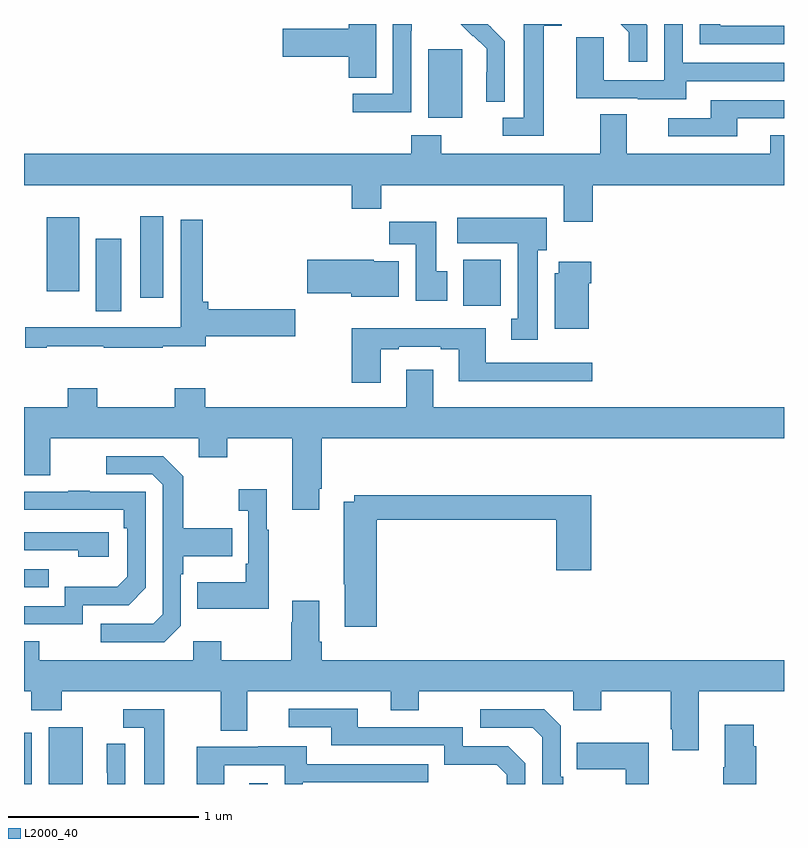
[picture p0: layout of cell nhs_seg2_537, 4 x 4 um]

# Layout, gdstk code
import gdstk
lib = gdstk.Library(unit=1e-6, precision=1e-09)
def R(c, l, rs):  # rectangles x0, y0, x1, y1
    for r in rs: c.add(gdstk.rectangle(r[:2], r[2:], *l))
def P(c, l, *ps):  # polygons
    for p in ps: c.add(gdstk.Polygon(p, *l))
L2000_40 = (2000, 40)

nhs_seg2_537 = lib.new_cell('nhs_seg2_537')
R(nhs_seg2_537, L2000_40, [(137,661.8,137.04,662.07), (137.129,661.8,137.308,662.098), (138.185,661.8,138.282,661.804), (137,662.835,137.129,662.931), (137.378,664.288,137.512,664.669), (139.313,664.316,139.51,664.558), (137.612,664.359,137.734,664.789), (137.12,664.394,137.29,664.783), (139.127,665.306,139.306,665.667)])
P(nhs_seg2_537, L2000_40, [(138.853,665.8),(138.71,665.8),(138.71,665.774),(138.363,665.774),(138.363,665.627),(138.71,665.627),(138.71,665.518),(138.853,665.518)],
  [(139.53,665.71),(139.457,665.783),(139.458,665.784),(139.442,665.8),(139.298,665.8),(139.362,665.736),(139.365,665.739),(139.436,665.669),(139.436,665.546),(139.434,665.546),(139.434,665.392),(139.53,665.392)],
  [(139.038,665.764),(139.041,665.764),(139.041,665.8),(138.942,665.8),(138.942,665.433),(138.729,665.433),(138.729,665.335),(139.038,665.335)],
  [(140.28,665.794),(140.274,665.8),(140.14,665.8),(140.183,665.757),(140.183,665.601),(140.28,665.601)],
  [(139.735,665.792),(139.831,665.792),(139.831,665.8),(139.631,665.8),(139.631,665.307),(139.521,665.307),(139.521,665.211),(139.735,665.211)],
  [(141,665.79),(140.665,665.79),(140.665,665.8),(140.556,665.8),(140.556,665.694),(141,665.694)],
  [(140.485,665.499),(141,665.499),(141,665.595),(140.466,665.595),(140.466,665.8),(140.37,665.8),(140.37,665.505),(140.052,665.505),(140.052,665.729),(139.907,665.729),(139.907,665.409),(140.231,665.409),(140.231,665.405),(140.485,665.405)],
  [(140.755,665.304),(141,665.304),(141,665.4),(140.615,665.4),(140.615,665.304),(140.391,665.304),(140.391,665.208),(140.755,665.208)],
  [(139.994,664.952),(141,664.952),(141,665.215),(140.927,665.215),(140.927,665.116),(140.173,665.116),(140.173,665.324),(140.033,665.324),(140.033,665.116),(139.197,665.116),(139.197,665.215),(139.037,665.215),(139.037,665.116),(137,665.116),(137,664.952),(138.725,664.952),(138.725,664.828),(138.881,664.828),(138.881,664.952),(139.841,664.952),(139.841,664.758),(139.994,664.758)],
  [(139.705,664.61),(139.75,664.61),(139.75,664.78),(139.281,664.78),(139.281,664.646),(139.598,664.646),(139.598,664.25),(139.565,664.25),(139.565,664.137),(139.705,664.137)],
  [(137.119,664.105),(137.419,664.105),(137.419,664.095),(137.729,664.095),(137.729,664.105),(137.956,664.105),(137.956,664.156),(138.427,664.156),(138.427,664.298),(137.969,664.298),(137.969,664.339),(137.942,664.339),(137.942,664.771),(137.826,664.771),(137.826,664.204),(137.616,664.204),(137.616,664.203),(137.282,664.203),(137.282,664.205),(137.007,664.205),(137.007,664.095),(137.119,664.095)],
  [(139.228,664.5),(139.171,664.5),(139.171,664.759),(138.922,664.759),(138.922,664.64),(139.061,664.64),(139.061,664.344),(139.228,664.344)],
  [(138.973,664.552),(138.84,664.552),(138.84,664.558),(138.492,664.558),(138.492,664.382),(138.722,664.382),(138.722,664.364),(138.973,664.364)],
  [(139.972,664.436),(139.985,664.436),(139.985,664.549),(139.814,664.549),(139.814,664.488),(139.793,664.488),(139.793,664.196),(139.972,664.196)],
  [(138.877,664.089),(138.973,664.089),(138.973,664.101),(139.193,664.101),(139.193,664.089),(139.289,664.089),(139.289,663.92),(139.99,663.92),(139.99,664.017),(139.429,664.017),(139.429,664.198),(138.725,664.198),(138.725,663.912),(138.877,663.912)],
  [(137.921,663.521),(138.069,663.521),(138.069,663.62),(138.413,663.62),(138.413,663.243),(138.553,663.243),(138.553,663.355),(138.566,663.355),(138.566,663.62),(141,663.62),(141,663.784),(139.153,663.784),(139.153,663.979),(139.013,663.979),(139.013,663.784),(137.954,663.784),(137.954,663.883),(137.794,663.883),(137.794,663.784),(137.385,663.784),(137.385,663.883),(137.23,663.883),(137.23,663.784),(137,663.784),(137,663.426),(137.137,663.426),(137.137,663.62),(137.921,663.62)],
  [(137.826,662.634),(137.826,662.903),(137.839,662.903),(137.839,662.999),(138.095,662.999),(138.095,663.147),(137.839,663.147),(137.839,663.419),(137.733,663.525),(137.433,663.525),(137.433,663.429),(137.676,663.429),(137.73,663.375),(137.73,662.694),(137.679,662.643),(137.403,662.643),(137.403,662.547),(137.739,662.547)],
  [(138.289,663.139),(138.277,663.139),(138.277,663.352),(138.129,663.352),(138.129,663.239),(138.18,663.239),(138.18,662.959),(138.168,662.959),(138.168,662.863),(137.911,662.863),(137.911,662.723),(138.289,662.723)],
  [(137.31,662.742),(137.55,662.742),(137.64,662.832),(137.64,663.339),(137.345,663.339),(137.345,663.344),(137.233,663.344),(137.233,663.339),(137,663.339),(137,663.243),(137.524,663.243),(137.524,663.146),(137.544,663.146),(137.544,662.892),(137.491,662.839),(137.214,662.839),(137.214,662.736),(137,662.736),(137,662.64),(137.31,662.64)],
  [(138.857,663.19),(139.802,663.19),(139.802,662.925),(139.985,662.925),(139.985,663.319),(138.738,663.319),(138.738,663.286),(138.682,663.286),(138.682,662.851),(138.689,662.851),(138.689,662.628),(138.857,662.628)],
  [(137.446,663.126),(137,663.126),(137,663.03),(137.285,663.03),(137.285,662.996),(137.446,662.996)],
  [(138.413,662.764),(138.413,662.651),(138.406,662.651),(138.406,662.452),(138.039,662.452),(138.039,662.551),(137.892,662.551),(137.892,662.452),(137.079,662.452),(137.079,662.551),(137,662.551),(137,662.288),(137.039,662.288),(137.039,662.189),(137.199,662.189),(137.199,662.288),(138.035,662.288),(138.035,662.08),(138.175,662.08),(138.175,662.288),(138.929,662.288),(138.929,662.189),(139.077,662.189),(139.077,662.288),(139.89,662.288),(139.89,662.189),(140.037,662.189),(140.037,662.288),(140.404,662.288),(140.404,662.089),(140.411,662.089),(140.411,661.977),(140.551,661.977),(140.551,662.288),(141,662.288),(141,662.452),(138.566,662.452),(138.566,662.548),(138.553,662.548),(138.553,662.764)],
  [(139.638,661.908),(139.548,661.998),(139.308,661.998),(139.308,662.1),(138.757,662.1),(138.757,662.196),(138.393,662.196),(138.393,662.1),(138.617,662.1),(138.617,662.004),(139.212,662.004),(139.212,661.901),(139.489,661.901),(139.542,661.848),(139.542,661.8),(139.638,661.8)],
  [(137.737,662.193),(137.523,662.193),(137.523,662.097),(137.633,662.097),(137.633,661.8),(137.737,661.8)],
  [(139.837,661.837),(139.824,661.837),(139.824,662.106),(139.737,662.193),(139.401,662.193),(139.401,662.097),(139.677,662.097),(139.728,662.046),(139.728,661.8),(139.837,661.8)],
  [(140.855,662),(140.842,662),(140.842,662.113),(140.687,662.113),(140.687,661.889),(140.68,661.889),(140.68,661.8),(140.855,661.8)],
  [(140.287,662.017),(139.909,662.017),(139.909,661.877),(140.166,661.877),(140.166,661.8),(140.287,661.8)],
  [(137.532,662.012),(137.436,662.012),(137.436,661.858),(137.438,661.858),(137.438,661.8),(137.532,661.8)],
  [(138.054,661.899),(138.372,661.899),(138.372,661.8),(138.468,661.8),(138.468,661.809),(139.127,661.809),(139.127,661.905),(138.487,661.905),(138.487,661.999),(138.233,661.999),(138.233,661.995),(137.909,661.995),(137.909,661.8),(138.054,661.8)])

lib.write_gds('nhs_seg2_537.gds')
